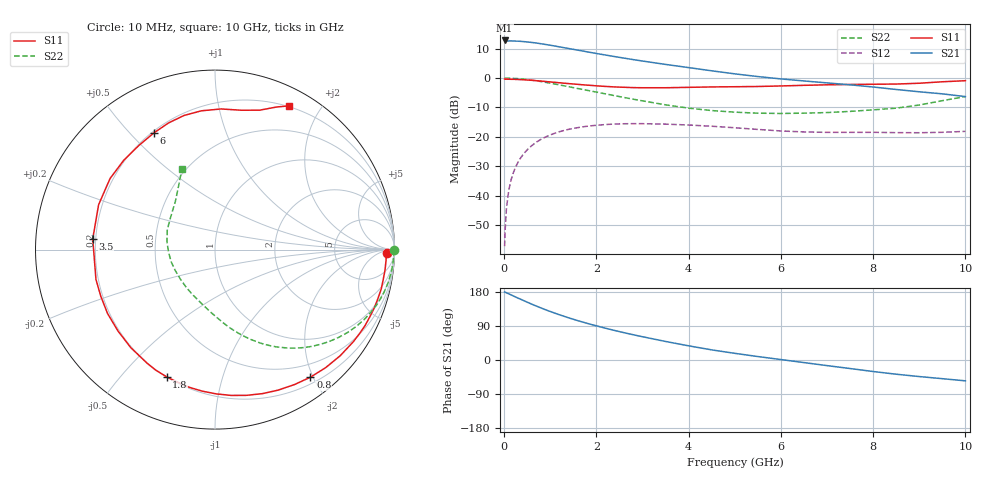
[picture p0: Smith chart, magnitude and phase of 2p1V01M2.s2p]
! (c) 2009  Infineon Technologies AG, Munich
! Infineon Technologies  Discrete & RF Semiconductors
! BFP420
! VCE =  1.0 V,  IC =  1.2 mA
! Common Emitter S-Parameters:  Nov 2009
# GHz  S  MA  R  50
!  f  S11  S21  S12  S22
! GHz  MAG  ANG  MAG  ANG  MAG  ANG  MAG  ANG
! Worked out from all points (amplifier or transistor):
!   46 points, 10 MHz to 10 GHz, reference 50 ohm
!   highest |S21| = 12.8 dB at 10 MHz (marker M1)
!   |S21| within 3 dB of that: start of sweep to 1.495 GHz
!   unconditionally stable (mu >= 1): 4.289 GHz to end of sweep
!   at 300 MHz: K = 0.03, MSG = 20.6 dB, |S12| = -28.6 dB
!   at 1.7 GHz: K = 0.31, MSG = 12.9 dB, |S12| = -16.6 dB
!   at 10 GHz: K = 1.31, MAG = 2.6 dB, |S12| = -18.1 dB
!   lowest NFmin = 0.53 dB at 900 MHz
!   S11 on the Smith chart (normalised r, x): 10 MHz: 39, -21; 800 MHz: 0.29, -1.96; 1.8 GHz: 0.20, -0.67; 3.5 GHz: 0.19, +0.04; 6 GHz: 0.21, +0.58; 10 GHz: 0.19, +1.62
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0.01  0.961 -1.2  4.342 179.4  0.0014 87.5  0.9952 -0.1
0.02  0.9539 -1.4  4.205 179.4  0.0025 87.7  0.9958 -0.8
0.05  0.9549 -3.4  4.236 177.3  0.0062 87.9  0.9957 -2.1
0.1  0.9542 -6.7  4.264 174.6  0.0124 86.1  0.9943 -4.3
0.2  0.9518 -13.4  4.255 169.0  0.0248 81.8  0.9871 -8.6
0.35  0.9402 -23.6  4.199 160.7  0.0431 75.4  0.9688 -14.9
0.5  0.9261 -33.6  4.098 152.6  0.0605 69.2  0.9413 -20.9
0.8  0.8877 -53.2  3.816 137.3  0.0912 57.2  0.8705 -32.1
1  0.8583 -65.8  3.601 128.0  0.1083 49.9  0.817 -38.8
1.2  0.8306 -77.9  3.38 119.3  0.1227 43.1  0.7635 -44.9
1.7  0.7679 -105.8  2.879 100.2  0.1484 28.3  0.6405 -57.8
1.8  0.7583 -110.8  2.78 96.7  0.1518 25.6  0.6187 -60.0
2.2  0.7202 -130.6  2.456 83.8  0.1624 16.0  0.5378 -68.4
2.6  0.6965 -149.3  2.178 72.0  0.1675 7.2  0.4675 -76.3
3  0.6838 -165.9  1.943 61.4  0.168 -0.2  0.4098 -83.7
3.5  0.6838 175.0  1.702 48.9  0.1649 -8.3  0.3509 -93.7
4.5  0.7061 145.9  1.326 26.7  0.152 -20.5  0.2804 -116.5
5.5  0.7184 126.4  1.059 9.1  0.1341 -27.3  0.2532 -139.7
6  0.7337 117.8  0.966 1.2  0.1263 -28.5  0.2503 -152.2
7  0.767 103.0  0.827 -14.8  0.1196 -28.6  0.2593 -176.9
8.5  0.7902 79.3  0.639 -37.5  0.1183 -30.6  0.308 142.9
10  0.9005 62.8  0.484 -55.0  0.1244 -29.6  0.4844 112.4
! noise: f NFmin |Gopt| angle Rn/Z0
0.9  0.53  0.62  33  0.31
1.8  1.1  0.4  77  0.24
2.4  1.23  0.41  100  0.2
3  1.51  0.41  132  0.14
4  1.8  0.44  -175  0.09
5  2.23  0.45  -132  0.38
6  3.18  0.57  -116  0.44
